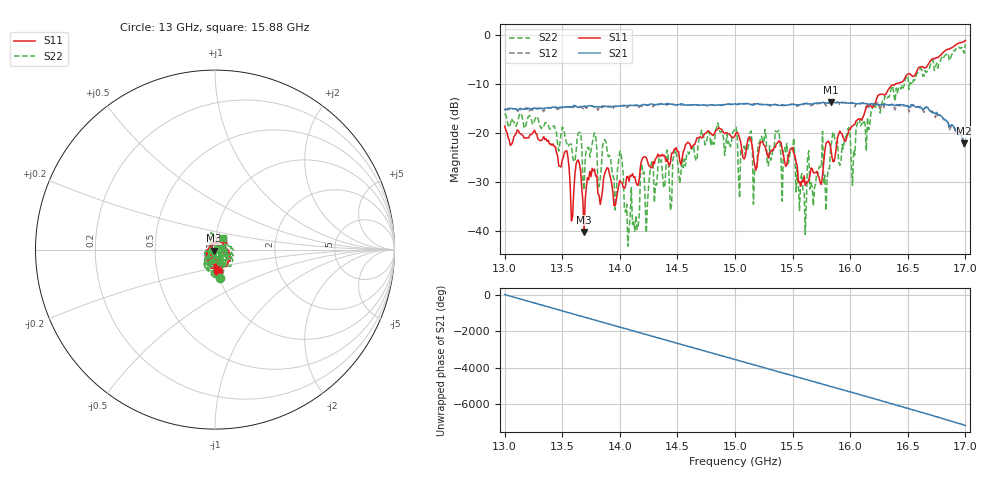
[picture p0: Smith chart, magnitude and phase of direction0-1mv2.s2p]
!Keysight Technologies,P9374A,MY57211810,A.19.30.04
!Date: Friday, May 02, 2025 10:37:02
!Correction: S11(C* 2-Port  )
!S21(C* 2-Port  )
!S12(C* 2-Port  )
!S22(C* 2-Port  )
!S2P File: Measurements: S11, S21, S12, S22:
# Hz S  dB  R 50
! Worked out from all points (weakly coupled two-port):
!   401 points, 13 GHz to 17 GHz, reference 50 ohm
!   highest |S21| = -13.64 dB at 15.83 GHz (marker M1); lowest = -22.0 dB at 16.99 GHz (marker M2)
!   lowest |S11| = -40.2 dB at 13.69 GHz (marker M3), VSWR 1.02, Z = 49.2 - j0.575 ohm
!   |S11| at or under -10 dB: start of sweep to 16.39 GHz
!   |S22| runs from -43.1 to -1.8 dB; largest |S21 - S12| = 0.02
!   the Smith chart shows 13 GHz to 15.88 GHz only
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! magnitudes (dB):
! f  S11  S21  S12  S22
! 13 GHz  -18.5  -15.1  -15.0  -16.0
! 13.64 GHz  -25.5  -14.7  -14.5  -20.0
! 13.67 GHz  -31.3  -14.5  -14.6  -22.7
! 13.69 GHz  -40.2  -14.5  -15.2  -31.6
! 13.76 GHz  -27.2  -14.4  -14.5  -22.2
! 13.95 GHz  -34.9  -14.5  -14.5  -29.3
! 14.01 GHz  -30.0  -14.4  -14.4  -24.2
! 14.06 GHz  -28.9  -14.3  -14.8  -34.5
! 14.14 GHz  -30.0  -14.3  -14.3  -36.9
! 14.19 GHz  -25.5  -14.2  -14.6  -26.2
! 14.24 GHz  -25.7  -14.3  -14.3  -34.3
! 14.34 GHz  -24.8  -14.1  -14.1  -25.2
! 15 GHz  -20.5  -14.0  -14.1  -19.0
! 15.17 GHz  -26.4  -14.1  -14.0  -27.4
! 15.37 GHz  -22.0  -14.2  -14.3  -19.7
! 15.67 GHz  -27.2  -14.0  -14.2  -30.9
! 15.83 GHz  -22.8  -13.6  -13.7  -22.9
! 16.03 GHz  -18.3  -13.9  -14.2  -23.5
! 16.07 GHz  -17.1  -13.9  -14.1  -17.6
! 16.34 GHz  -10.8  -14.2  -14.3  -12.6
! 16.99 GHz  -1.2  -22.0  -22.8  -3.6
! 17 GHz  -1.0  -21.8  -21.9  -1.8
